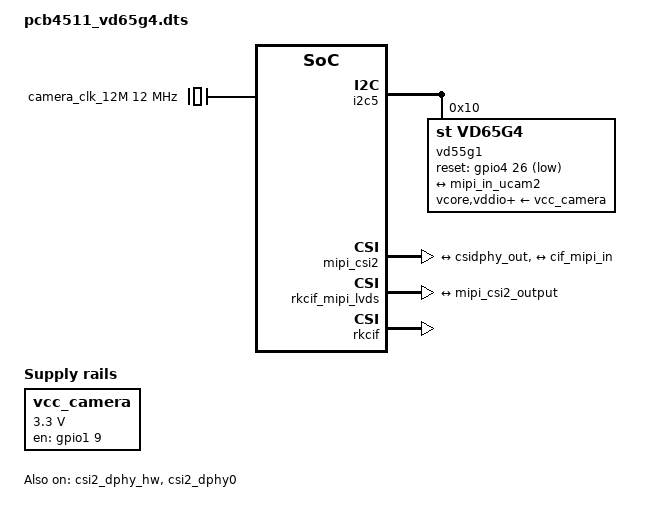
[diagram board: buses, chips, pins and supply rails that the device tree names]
// SPDX-License-Identifier: GPL-2.0-only
/dts-v1/;
/plugin/;

/ {
	metadata {
		title = "Enable vd55g1 on rock3a";
		compatible = "rockchip,rk3568";
		category = "camera";
		description = "Enable Radxa rock-3a vd55g1";
	};
};

&{/} {
	camera_clk_12M: camera_clk_12M {
		#clock-cells = <0>;
		compatible = "fixed-clock";
		clock-frequency = <12000000>;
	};
	vcc_camera: vcc-camera {
		status = "okay";
		compatible = "regulator-fixed";
		regulator-name = "vcc_camera";
		gpio = <&gpio1 9 0>;
		enable-active-high;
		regulator-min-microvolt = <3300000>;
		regulator-max-microvolt = <3300000>;
		regulator-always-on;
		regulator-boot-on;
	};
};

&i2c5 {
	#address-cells = <1>;
	#size-cells = <0>;
	status = "okay";

	vd55g1: vd55g1@10 {
		status = "okay";
		compatible = "st,vd65g4";
		reg = <0x10>;

		clocks = <&camera_clk_12M>;
		clock-names = "xclk";

		reset-gpios = <&gpio4 26 1>;

		vcore-supply = <&vcc_camera>;
		vddio-supply = <&vcc_camera>;
		vana-supply = <&vcc_camera>;

		rotation = <0>;
		orientation = <2>;

		port {
			vd55g1_ep: endpoint {
				clock-lanes = <0>;
				data-lanes = <1>;
				lane-polarities = <1 1>;
				remote-endpoint = <&mipi_in_ucam2>;
				clock-noncontinuous;
				link-frequencies =
					/bits/ 64 <500000000>;
			};
		};
	};
};

&csi2_dphy_hw {
	status = "okay";
};

&csi2_dphy0 {
	status = "okay";

	ports {
		#address-cells = <1>;
		#size-cells = <0>;
		port@0 {
			reg = <0>;
			#address-cells = <1>;
			#size-cells = <0>;
			mipi_in_ucam2: endpoint@3 {
				reg = <3>;
				remote-endpoint = <&vd55g1_ep>;
				data-lanes = <1>;
			};
		};
		port@1 {
			reg = <1>;
			#address-cells = <1>;
			#size-cells = <0>;

			csidphy_out: endpoint@2 {
				reg = <2>;
				remote-endpoint = <&mipi_csi2_input>;
				data-lanes = <1>;
			};
		};
	};
};

&mipi_csi2 {
	status = "okay";

	ports {
		#address-cells = <1>;
		#size-cells = <0>;

		port@0 {
			reg = <0>;
			#address-cells = <1>;
			#size-cells = <0>;

			mipi_csi2_input: endpoint@1 {
				reg = <1>;
				remote-endpoint = <&csidphy_out>;
				data-lanes = <1>;
			};
		};

		port@1 {
			reg = <1>;

			mipi_csi2_output: endpoint {
				remote-endpoint = <&cif_mipi_in>;
				data-lanes = <1>;
			};
		};
	};
};

&rkcif_mipi_lvds {
	status = "okay";
	port {
		cif_mipi_in: endpoint {
			remote-endpoint = <&mipi_csi2_output>;
			data-lanes = <1>;
		};
	};
};

&rkisp_vir0 {
	status = "disabled";
};

&rkisp {
	status = "disabled";
};

&rkisp_mmu {
	status = "disabled";
};

&rkcif_mmu {
	status = "okay";
};

&rkcif {
	status = "okay";
};


